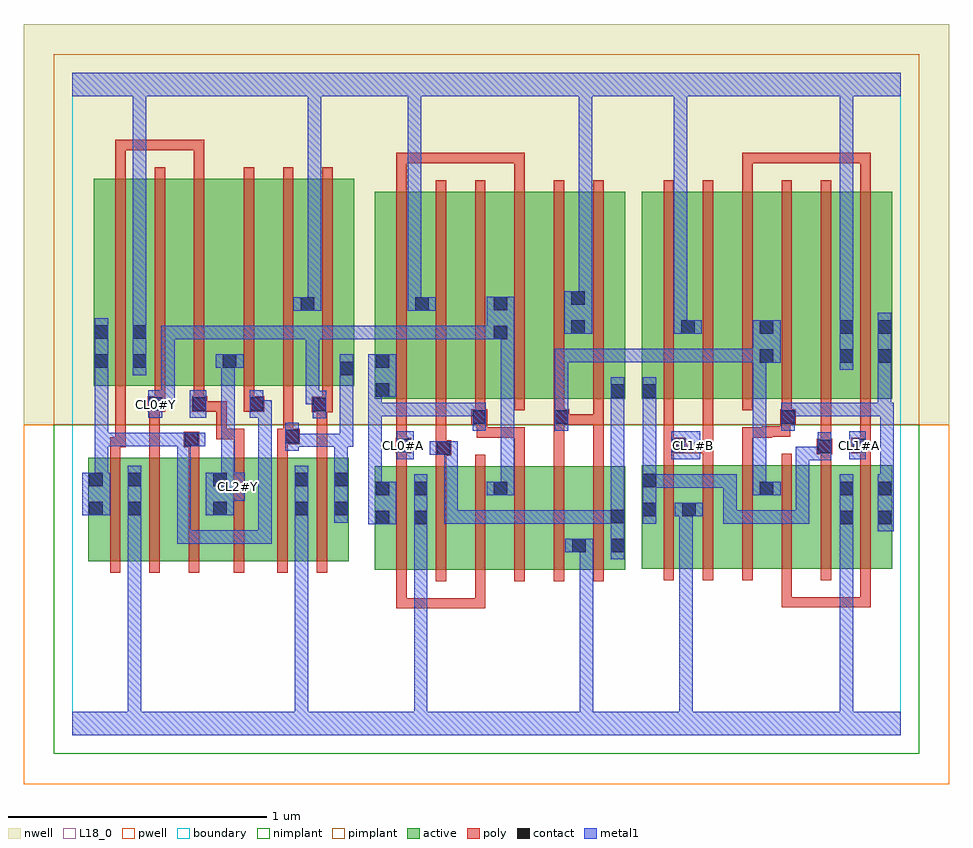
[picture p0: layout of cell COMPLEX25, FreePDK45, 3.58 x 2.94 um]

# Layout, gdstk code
import gdstk
lib = gdstk.Library(unit=1e-6, precision=1e-09)
def R(c, l, rs):  # rectangles x0, y0, x1, y1
    for r in rs: c.add(gdstk.rectangle(r[:2], r[2:], *l))
def A(c, l, x, y, w, h, nx, ny, dx, dy):  # array of equal rectangles
    R(c, l, [(x+i*dx, y+j*dy, x+i*dx+w, y+j*dy+h) for i in range(nx) for j in range(ny)])
active = (1, 0)
pwell = (2, 0)
nwell = (3, 0)
nimplant = (4, 0)
pimplant = (5, 0)
poly = (9, 0)
contact = (10, 0)
metal1 = (11, 0)
L18_0 = (18, 0)
boundary = (235, 0)

complex25 = lib.new_cell('COMPLEX25')
R(complex25, active, [(1.168,0.64,1.228,1.04), (1.168,0.64,1.376,1.04), (1.316,0.64,1.5,1.04), (1.5,0.64,1.684,1.04), (1.624,0.64,1.804,1.04), (1.804,0.64,1.988,1.04), (1.928,0.64,2.136,1.04), (1.928,0.64,1.988,0.83), (2.076,0.64,2.136,1.04), (2.2,0.644,2.412,1.044), (2.352,0.644,2.532,1.044), (2.532,0.644,2.712,1.044), (2.652,0.644,2.836,1.044), (2.836,0.644,3.02,1.044), (2.96,0.644,3.02,1.044), (2.96,0.644,3.168,1.044), (3.108,0.644,3.168,1.044), (0.062,0.672,0.27,1.072), (0.21,0.672,0.27,1.072), (0.21,0.672,0.394,1.072), (0.394,0.672,0.6,1.072), (0.54,0.672,0.6,1.072), (0.54,0.672,0.736,1.072), (0.736,0.672,0.916,1.072), (0.856,0.672,1.068,1.072), (0.062,0.756,0.122,1.072), (0.856,0.756,0.916,1.072), (1.008,0.756,1.068,1.072), (1.316,0.756,1.376,0.984), (1.624,0.756,1.684,0.984), (2.2,0.756,2.26,1.044), (2.352,0.756,2.412,0.902), (2.652,0.756,2.712,0.984), (1.168,1.3,1.228,2.044), (1.168,1.3,1.38,2.1), (1.32,1.3,1.5,2.1), (1.5,1.3,1.684,2.1), (1.624,1.3,1.684,2.044), (1.624,1.3,1.804,2.1), (1.804,1.3,1.984,2.1), (1.924,1.3,2.136,2.1), (2.076,1.3,2.136,2.044), (2.2,1.3,2.26,2.044), (2.2,1.3,2.408,2.1), (2.348,1.3,2.532,2.1), (2.532,1.3,2.712,2.1), (2.652,1.3,2.712,2.044), (2.652,1.3,2.836,2.1), (2.836,1.3,3.02,2.1), (2.96,1.3,3.02,2.044), (2.96,1.3,3.168,2.1), (3.108,1.3,3.168,2.044), (0.082,1.35,0.29,2.15), (0.082,1.35,0.142,2.044), (0.23,1.35,0.414,2.15), (0.23,1.35,0.29,2.15), (0.414,1.35,0.638,2.15), (0.578,1.35,0.758,2.15), (0.578,1.35,0.638,2.044), (0.758,1.35,0.938,2.15), (0.878,1.35,1.09,2.15), (1.03,1.35,1.09,2.044), (0.878,1.406,0.938,2.15), (2.348,1.464,2.408,2.044), (1.924,1.492,1.984,2.044), (1.32,1.58,1.38,2.044)])
R(complex25, pwell, [(-0.188,-0.188,3.388,1.2)])
R(complex25, nwell, [(-0.188,1.2,3.388,2.748)])
R(complex25, nimplant, [(-0.072,-0.072,3.272,1.2)])
R(complex25, pimplant, [(-0.072,1.2,3.272,2.632)])
A(complex25, poly, 1.252, 0.596, 0.04, 0.488, 6, 1, 0.152, 0)
A(complex25, poly, 2.284, 0.6, 0.04, 0.488, 6, 1, 0.152, 0)
A(complex25, poly, 0.146, 0.628, 0.04, 0.488, 3, 1, 0.152, 0)
A(complex25, poly, 1.252, 1.256, 0.04, 0.888, 6, 1, 0.152, 0)
A(complex25, poly, 2.284, 1.256, 0.04, 0.888, 6, 1, 0.152, 0)
A(complex25, poly, 0.166, 1.306, 0.04, 0.888, 3, 1, 0.152, 0)
A(complex25, poly, 0.662, 1.306, 0.04, 0.888, 3, 1, 0.152, 0)
R(complex25, poly, [(1.252,0.49,1.292,0.636), (1.252,0.49,1.292,0.53), (1.252,0.49,1.292,0.53), (1.252,0.49,1.292,0.53), (1.252,0.49,1.416,0.53), (1.376,0.49,1.416,0.53), (1.376,0.49,1.416,0.53), (1.376,0.49,1.416,0.53), (1.376,0.49,1.596,0.53), (1.556,0.49,1.596,0.636), (1.556,0.49,1.596,0.53), (2.74,0.494,2.78,0.64), (2.74,0.494,2.78,0.534), (2.74,0.494,2.944,0.534), (2.904,0.494,2.944,0.534), (2.904,0.494,2.944,0.534), (2.904,0.494,2.944,0.534), (2.904,0.494,3.084,0.534), (3.044,0.494,3.084,0.64), (3.044,0.494,3.084,0.534), (3.044,0.494,3.084,0.534), (3.044,0.494,3.084,0.534), (0.624,0.628,0.664,1.116), (0.792,0.628,0.832,1.116), (0.944,0.628,0.984,1.116), (1.252,1.044,1.292,1.13), (1.404,1.044,1.444,1.12), (1.708,1.044,1.748,1.19), (1.86,1.044,1.9,1.24), (2.012,1.044,2.052,1.24), (2.284,1.048,2.324,1.13), (2.436,1.048,2.476,1.13), (2.588,1.048,2.628,1.19), (2.892,1.048,2.932,1.126), (3.044,1.048,3.084,1.13), (0.146,1.076,0.186,1.152), (0.298,1.076,0.338,1.29), (0.45,1.076,0.49,1.152), (0.624,1.076,0.664,1.184), (0.792,1.076,0.832,1.164), (0.944,1.076,0.984,1.288), (1.404,1.08,1.464,1.14), (2.876,1.086,2.936,1.146), (1.25,1.09,1.31,1.15), (2.284,1.09,2.324,1.13), (2.284,1.09,2.324,1.13), (2.284,1.09,2.324,1.13), (2.284,1.09,2.324,1.13), (2.284,1.09,2.476,1.13), (2.284,1.09,2.37,1.15), (2.436,1.09,2.476,1.13), (2.436,1.09,2.476,1.13), (2.436,1.09,2.476,1.13), (2.436,1.09,2.476,1.296), (3.01,1.09,3.084,1.15), (1.404,1.1,1.444,1.14), (1.404,1.1,1.444,1.14), (1.404,1.1,1.444,1.296), (2.892,1.106,2.932,1.146), (2.892,1.106,2.932,1.146), (2.892,1.106,2.932,1.296), (1.252,1.11,1.292,1.15), (1.252,1.11,1.292,1.15), (1.252,1.11,1.292,1.296), (2.284,1.11,2.324,1.296), (3.044,1.11,3.084,1.15), (3.044,1.11,3.084,1.15), (3.044,1.11,3.084,1.296), (0.146,1.112,0.186,1.152), (0.146,1.112,0.186,1.152), (0.146,1.112,0.206,1.152), (0.166,1.112,0.206,1.346), (0.43,1.112,0.49,1.172), (0.792,1.124,0.878,1.184), (0.556,1.144,0.596,1.29), (0.556,1.144,0.596,1.184), (0.556,1.144,0.664,1.184), (0.624,1.144,0.664,1.184), (0.814,1.144,0.854,1.184), (0.814,1.144,0.854,1.184), (0.814,1.144,0.854,1.346), (1.562,1.15,1.748,1.19), (1.562,1.15,1.602,1.24), (1.708,1.15,1.748,1.19), (1.708,1.15,1.748,1.19), (1.708,1.15,1.748,1.19), (2.588,1.15,2.628,1.19), (2.588,1.15,2.704,1.19), (2.664,1.15,2.704,1.194), (2.664,1.154,2.774,1.194), (2.734,1.154,2.774,1.194), (2.734,1.154,2.774,1.24), (1.542,1.2,1.602,1.26), (1.562,1.2,1.602,1.24), (1.86,1.2,1.9,1.24), (1.86,1.2,1.9,1.24), (1.86,1.2,1.92,1.26), (1.86,1.2,2.052,1.24), (2.012,1.2,2.052,1.24), (2.012,1.2,2.052,1.24), (2.012,1.2,2.052,1.24), (2.012,1.2,2.052,1.24), (2.012,1.2,2.052,1.24), (2.012,1.2,2.052,1.296), (2.734,1.2,2.794,1.26), (1.556,1.22,1.596,1.296), (1.86,1.22,1.9,1.296), (2.74,1.22,2.78,1.296), (0.924,1.248,1.006,1.308), (0.944,1.248,0.984,1.288), (0.944,1.248,0.984,1.288), (0.292,1.25,0.358,1.31), (0.298,1.25,0.338,1.29), (0.298,1.25,0.338,1.29), (0.462,1.25,0.522,1.31), (0.482,1.25,0.596,1.29), (0.556,1.25,0.596,1.29), (0.662,1.25,0.742,1.31), (0.966,1.268,1.006,1.346), (0.318,1.27,0.358,1.346), (0.47,1.27,0.51,1.346), (0.662,1.27,0.702,1.346), (1.252,2.104,1.292,2.25), (1.708,2.104,1.748,2.25), (2.588,2.104,2.628,2.25), (3.044,2.104,3.084,2.25), (0.166,2.154,0.206,2.3), (0.47,2.154,0.51,2.3), (1.252,2.21,1.292,2.25), (1.252,2.21,1.292,2.25), (1.252,2.21,1.292,2.25), (1.252,2.21,1.416,2.25), (1.376,2.21,1.416,2.25), (1.376,2.21,1.416,2.25), (1.376,2.21,1.416,2.25), (1.376,2.21,1.642,2.25), (1.602,2.21,1.642,2.25), (1.602,2.21,1.748,2.25), (1.708,2.21,1.748,2.25), (1.708,2.21,1.748,2.25), (1.708,2.21,1.748,2.25), (2.588,2.21,2.628,2.25), (2.588,2.21,2.628,2.25), (2.588,2.21,2.628,2.25), (2.588,2.21,2.81,2.25), (2.77,2.21,2.81,2.25), (2.77,2.21,2.81,2.25), (2.77,2.21,2.81,2.25), (2.77,2.21,2.916,2.25), (2.876,2.21,2.916,2.25), (2.876,2.21,3.084,2.25), (3.044,2.21,3.084,2.25), (3.044,2.21,3.084,2.25), (3.044,2.21,3.084,2.25), (0.166,2.26,0.206,2.3), (0.166,2.26,0.206,2.3), (0.166,2.26,0.206,2.3), (0.166,2.26,0.364,2.3), (0.324,2.26,0.364,2.3), (0.324,2.26,0.364,2.3), (0.324,2.26,0.364,2.3), (0.324,2.26,0.51,2.3), (0.47,2.26,0.51,2.3)])
R(complex25, contact, [(1.932,0.708,1.984,0.76), (2.08,0.708,2.132,0.76), (1.172,0.816,1.224,0.868), (1.32,0.816,1.372,0.868), (2.964,0.816,3.016,0.868), (3.112,0.816,3.164,0.868), (2.08,0.82,2.132,0.872), (2.204,0.846,2.256,0.898), (2.356,0.846,2.408,0.898), (0.066,0.85,0.118,0.902), (0.214,0.85,0.266,0.902), (0.544,0.85,0.596,0.902), (0.86,0.85,0.912,0.902), (1.012,0.85,1.064,0.902), (1.172,0.928,1.224,0.98), (1.32,0.928,1.372,0.98), (1.628,0.928,1.68,0.98), (2.656,0.928,2.708,0.98), (2.964,0.928,3.016,0.98), (3.112,0.928,3.164,0.98), (2.204,0.958,2.256,1.01), (0.066,0.962,0.118,1.014), (0.214,0.962,0.266,1.014), (0.544,0.962,0.596,1.014), (0.86,0.962,0.912,1.014), (1.012,0.962,1.064,1.014), (1.408,1.084,1.46,1.136), (2.88,1.09,2.932,1.142), (1.254,1.094,1.306,1.146), (2.314,1.094,2.366,1.146), (3.014,1.094,3.066,1.146), (0.434,1.116,0.486,1.168), (0.822,1.128,0.874,1.18), (1.546,1.204,1.598,1.256), (1.864,1.204,1.916,1.256), (2.738,1.204,2.79,1.256), (0.928,1.252,0.98,1.304), (0.296,1.254,0.348,1.306), (0.466,1.254,0.518,1.306), (0.686,1.254,0.738,1.306), (2.08,1.304,2.132,1.356), (2.204,1.304,2.256,1.356), (1.172,1.308,1.224,1.36), (1.034,1.392,1.086,1.444), (0.086,1.42,0.138,1.472), (0.234,1.42,0.286,1.472), (0.582,1.42,0.634,1.472), (1.172,1.42,1.224,1.472), (2.656,1.44,2.708,1.492), (2.964,1.44,3.016,1.492), (3.112,1.44,3.164,1.492), (1.628,1.53,1.68,1.582), (0.086,1.532,0.138,1.584), (0.234,1.532,0.286,1.584), (1.928,1.552,1.98,1.604), (2.352,1.552,2.404,1.604), (2.656,1.552,2.708,1.604), (2.964,1.552,3.016,1.604), (3.112,1.552,3.164,1.604), (0.882,1.64,0.934,1.692), (1.324,1.64,1.376,1.692), (1.628,1.642,1.68,1.694), (1.928,1.664,1.98,1.716)])
R(complex25, metal1, [(0,0,3.2,0.092), (0.214,0.04,0.266,0.092), (0.214,0.04,0.266,0.092), (0.214,0.04,0.266,0.092), (0.214,0.04,0.266,0.092), (0.214,0.04,0.266,0.092), (0.214,0.04,0.266,0.092), (0.214,0.04,0.266,0.092), (0.214,0.04,0.266,0.092), (0.214,0.04,0.266,0.092), (0.214,0.04,0.266,0.092), (0.214,0.04,0.266,0.092), (0.214,0.04,0.266,0.092), (0.214,0.04,0.266,0.874), (0.86,0.04,0.912,0.092), (0.86,0.04,0.912,0.092), (0.86,0.04,0.912,0.092), (0.86,0.04,0.912,0.092), (0.86,0.04,0.912,0.092), (0.86,0.04,0.912,0.092), (0.86,0.04,0.912,0.092), (0.86,0.04,0.912,0.092), (0.86,0.04,0.912,0.874), (1.32,0.04,1.372,0.092), (1.32,0.04,1.372,0.092), (1.32,0.04,1.372,0.092), (1.32,0.04,1.372,0.092), (1.32,0.04,1.372,0.092), (1.32,0.04,1.372,0.092), (1.32,0.04,1.372,0.092), (1.32,0.04,1.372,0.092), (1.32,0.04,1.372,0.092), (1.32,0.04,1.372,0.092), (1.32,0.04,1.372,0.092), (1.32,0.04,1.372,0.092), (1.32,0.04,1.372,0.84), (1.96,0.04,2.012,0.092), (1.96,0.04,2.012,0.092), (1.96,0.04,2.012,0.092), (1.96,0.04,2.012,0.092), (1.96,0.04,2.012,0.092), (1.96,0.04,2.012,0.092), (1.96,0.04,2.012,0.092), (1.96,0.04,2.012,0.092), (1.96,0.04,2.012,0.092), (1.96,0.04,2.012,0.092), (1.96,0.04,2.012,0.092), (1.96,0.04,2.012,0.092), (1.96,0.04,2.012,0.76), (2.344,0.04,2.396,0.092), (2.344,0.04,2.396,0.092), (2.344,0.04,2.396,0.092), (2.344,0.04,2.396,0.092), (2.344,0.04,2.396,0.092), (2.344,0.04,2.396,0.092), (2.344,0.04,2.396,0.092), (2.344,0.04,2.396,0.092), (2.344,0.04,2.396,0.092), (2.344,0.04,2.396,0.092), (2.344,0.04,2.396,0.898), (2.964,0.04,3.016,0.092), (2.964,0.04,3.016,0.092), (2.964,0.04,3.016,0.092), (2.964,0.04,3.016,0.092), (2.964,0.04,3.016,0.092), (2.964,0.04,3.016,0.092), (2.964,0.04,3.016,0.092), (2.964,0.04,3.016,0.092), (2.964,0.04,3.016,0.84), (2.08,0.68,2.132,0.9), (1.904,0.708,2.012,0.76), (0.406,0.74,0.458,0.792), (0.406,0.74,0.458,0.792), (0.406,0.74,0.458,0.792), (0.406,0.74,0.65,0.792), (0.406,0.74,0.458,1.168), (0.598,0.74,0.65,0.792), (0.598,0.74,0.678,0.792), (0.626,0.74,0.678,0.792), (0.626,0.74,0.77,0.792), (0.718,0.74,0.77,0.792), (0.718,0.74,0.77,0.792), (0.718,0.74,0.77,0.792), (0.718,0.74,0.77,0.792), (0.718,0.74,0.77,0.792), (0.718,0.74,0.77,1.294), (1.32,0.788,1.372,1.008), (2.964,0.788,3.016,1.008), (2.964,0.788,3.016,0.84), (2.964,0.788,3.016,0.84), (2.964,0.788,3.016,0.84), (2.964,0.788,3.016,0.84), (3.112,0.788,3.174,1.008), (1.144,0.816,1.252,0.98), (1.436,0.818,1.488,0.87), (1.436,0.818,1.652,0.87), (1.436,0.818,1.488,1.136), (1.6,0.818,1.652,0.87), (1.6,0.818,1.652,0.87), (1.6,0.818,1.652,0.87), (1.6,0.818,1.806,0.87), (1.754,0.818,1.806,0.87), (1.754,0.818,1.806,0.87), (1.754,0.818,1.806,0.87), (1.754,0.818,1.916,0.87), (1.864,0.818,1.916,0.87), (1.864,0.818,1.916,0.87), (1.864,0.818,1.916,0.87), (1.864,0.818,2.132,0.87), (2.08,0.818,2.132,0.87), (2.08,0.818,2.132,0.87), (2.204,0.818,2.256,1.038), (2.514,0.818,2.566,0.87), (2.514,0.818,2.566,0.87), (2.514,0.818,2.566,0.87), (2.514,0.818,2.68,0.87), (2.514,0.818,2.566,1.008), (2.628,0.818,2.68,0.87), (2.628,0.818,2.68,0.87), (2.628,0.818,2.68,0.87), (2.628,0.818,2.846,0.87), (2.794,0.818,2.846,0.87), (2.794,0.818,2.846,1.114), (0.214,0.822,0.266,1.042), (0.86,0.822,0.912,1.042), (0.86,0.822,0.912,0.874), (0.86,0.822,0.912,0.874), (0.86,0.822,0.912,0.874), (0.86,0.822,0.912,0.874), (1.012,0.822,1.064,1.042), (2.328,0.846,2.436,0.898), (2.344,0.846,2.396,0.898), (2.344,0.846,2.396,0.898), (2.08,0.848,2.132,0.9), (2.08,0.848,2.132,0.9), (2.08,0.848,2.132,0.9), (2.08,0.848,2.132,0.9), (2.08,0.848,2.132,0.9), (2.08,0.848,2.132,0.9), (2.08,0.848,2.132,1.328), (0.038,0.85,0.146,1.014), (0.516,0.85,0.624,1.014), (0.572,0.906,0.624,0.958), (0.572,0.906,0.666,1.014), (1.144,0.928,1.196,1.284), (1.6,0.928,1.708,0.98), (1.656,0.928,1.708,1.582), (2.628,0.928,2.68,1.492), (2.628,0.928,2.736,0.98), (2.204,0.956,2.256,1.008), (2.204,0.956,2.256,1.008), (2.204,0.956,2.456,1.008), (2.404,0.956,2.456,1.008), (2.404,0.956,2.456,1.008), (2.404,0.956,2.456,1.008), (2.404,0.956,2.566,1.008), (2.514,0.956,2.566,1.008), (3.122,0.956,3.174,1.284), (3.122,0.956,3.174,1.008), (3.122,0.956,3.174,1.008), (0.086,0.962,0.138,1.014), (0.086,0.962,0.138,1.014), (0.086,0.962,0.138,1.168), (0.576,0.962,0.628,1.014), (0.576,0.962,0.628,1.014), (0.576,0.962,0.628,1.472), (2.204,0.986,2.256,1.038), (2.204,0.986,2.256,1.038), (2.204,0.986,2.256,1.038), (2.204,0.986,2.256,1.038), (2.204,0.986,2.256,1.328), (1.012,0.99,1.064,1.166), (2.794,1.062,2.846,1.114), (2.794,1.062,2.846,1.114), (2.794,1.062,2.846,1.114), (2.794,1.062,2.932,1.114), (2.88,1.062,2.932,1.17), (1.254,1.066,1.318,1.174), (2.314,1.066,2.426,1.174), (3.002,1.066,3.066,1.174), (1.38,1.084,1.488,1.136), (1.436,1.084,1.488,1.136), (1.436,1.084,1.488,1.136), (1.436,1.084,1.488,1.136), (1.436,1.084,1.488,1.136), (0.822,1.1,0.874,1.208), (0.822,1.114,0.954,1.166), (0.902,1.114,0.954,1.166), (0.902,1.114,1.064,1.166), (1.012,1.114,1.064,1.166), (1.012,1.114,1.064,1.166), (1.012,1.114,1.086,1.166), (1.034,1.114,1.086,1.166), (1.034,1.114,1.086,1.166), (1.034,1.114,1.086,1.416), (0.086,1.116,0.138,1.444), (0.086,1.116,0.138,1.168), (0.086,1.116,0.138,1.168), (0.086,1.116,0.138,1.168), (0.086,1.116,0.248,1.168), (0.196,1.116,0.248,1.168), (0.196,1.116,0.248,1.168), (0.196,1.116,0.248,1.168), (0.196,1.116,0.458,1.168), (0.406,1.116,0.458,1.168), (0.406,1.116,0.458,1.168), (0.406,1.116,0.458,1.168), (0.406,1.116,0.458,1.168), (0.406,1.116,0.514,1.168), (1.546,1.176,1.598,1.284), (1.864,1.176,1.916,1.284), (2.738,1.176,2.79,1.284), (0.928,1.224,0.98,1.332), (0.294,1.226,0.348,1.334), (0.454,1.226,0.518,1.334), (0.686,1.226,0.738,1.334), (1.144,1.232,1.196,1.284), (1.144,1.232,1.196,1.284), (1.144,1.232,1.196,1.284), (1.144,1.232,1.196,1.284), (1.144,1.232,1.196,1.284), (1.144,1.232,1.362,1.284), (1.144,1.232,1.196,1.36), (1.31,1.232,1.362,1.284), (1.31,1.232,1.362,1.284), (1.31,1.232,1.362,1.284), (1.31,1.232,1.542,1.284), (1.49,1.232,1.542,1.284), (1.49,1.232,1.598,1.284), (1.864,1.232,1.916,1.284), (1.864,1.232,1.916,1.284), (1.864,1.232,1.916,1.494), (2.738,1.232,2.79,1.284), (2.738,1.232,2.79,1.284), (2.738,1.232,2.944,1.284), (2.892,1.232,2.944,1.284), (2.892,1.232,2.956,1.284), (2.904,1.232,2.956,1.284), (2.904,1.232,3.164,1.284), (3.112,1.232,3.164,1.464), (3.112,1.232,3.164,1.284), (3.112,1.232,3.164,1.284), (3.112,1.232,3.174,1.284), (0.686,1.242,0.77,1.294), (0.718,1.242,0.77,1.294), (2.08,1.276,2.132,1.384), (2.204,1.276,2.256,1.384), (0.902,1.28,0.954,1.332), (0.902,1.28,0.954,1.332), (0.902,1.28,0.954,1.332), (0.902,1.28,0.954,1.582), (0.902,1.28,0.98,1.332), (0.296,1.282,0.396,1.334), (0.344,1.282,0.396,1.334), (0.344,1.282,0.396,1.334), (0.344,1.282,0.396,1.334), (0.344,1.282,0.396,1.582), (1.144,1.308,1.252,1.472), (1.034,1.364,1.086,1.472), (0.086,1.392,0.138,1.612), (0.086,1.392,0.138,1.444), (0.086,1.392,0.138,1.444), (0.234,1.392,0.286,1.612), (2.964,1.412,3.016,1.632), (3.112,1.412,3.164,1.632), (0.554,1.42,0.662,1.472), (2.628,1.44,2.68,1.492), (2.628,1.44,2.68,1.492), (2.628,1.44,2.68,1.492), (2.628,1.44,2.68,1.492), (2.628,1.44,2.68,1.492), (2.628,1.44,2.68,1.492), (2.628,1.44,2.736,1.604), (1.864,1.442,1.916,1.494), (1.864,1.442,1.916,1.494), (1.864,1.442,1.916,1.494), (1.864,1.442,2.146,1.494), (2.094,1.442,2.146,1.494), (2.094,1.442,2.146,1.494), (2.094,1.442,2.146,1.494), (2.094,1.442,2.266,1.494), (2.214,1.442,2.266,1.494), (2.214,1.442,2.266,1.494), (2.214,1.442,2.266,1.494), (2.214,1.442,2.456,1.494), (2.404,1.442,2.456,1.494), (2.404,1.442,2.456,1.494), (2.404,1.442,2.456,1.494), (2.404,1.442,2.57,1.494), (2.518,1.442,2.57,1.494), (2.518,1.442,2.57,1.494), (2.518,1.442,2.57,1.494), (2.518,1.442,2.68,1.494), (0.344,1.53,0.396,1.582), (0.344,1.53,0.568,1.582), (0.516,1.53,0.568,1.582), (0.516,1.53,0.568,1.582), (0.516,1.53,0.568,1.582), (0.516,1.53,0.76,1.582), (0.708,1.53,0.76,1.582), (0.708,1.53,0.76,1.582), (0.708,1.53,0.76,1.582), (0.708,1.53,0.87,1.582), (0.818,1.53,0.87,1.582), (0.818,1.53,0.954,1.582), (0.902,1.53,0.954,1.582), (0.902,1.53,1.086,1.582), (1.034,1.53,1.086,1.582), (1.034,1.53,1.086,1.582), (1.034,1.53,1.086,1.582), (1.034,1.53,1.238,1.582), (1.186,1.53,1.238,1.582), (1.186,1.53,1.238,1.582), (1.186,1.53,1.238,1.582), (1.186,1.53,1.378,1.582), (1.326,1.53,1.378,1.582), (1.326,1.53,1.488,1.582), (1.436,1.53,1.488,1.582), (1.436,1.53,1.488,1.582), (1.436,1.53,1.488,1.582), (1.436,1.53,1.652,1.582), (1.6,1.53,1.652,1.582), (1.6,1.53,1.652,1.582), (1.6,1.53,1.708,1.694), (1.656,1.53,1.708,1.582), (1.656,1.53,1.708,1.582), (1.656,1.53,1.708,1.582), (1.656,1.53,1.708,1.582), (1.656,1.53,1.708,1.582), (1.656,1.53,1.708,1.582), (1.9,1.552,2.008,1.716), (2.324,1.552,2.376,1.604), (2.324,1.552,2.376,1.604), (2.324,1.552,2.376,1.604), (2.324,1.552,2.376,1.604), (2.324,1.552,2.432,1.604), (2.324,1.552,2.376,2.52), (0.234,1.56,0.286,2.52), (2.964,1.58,3.016,1.632), (2.964,1.58,3.016,1.632), (2.964,1.58,3.016,1.632), (2.964,1.58,3.016,1.632), (2.964,1.58,3.016,1.632), (2.964,1.58,3.016,1.632), (2.964,1.58,3.016,2.52), (0.854,1.64,0.962,1.692), (0.91,1.64,0.962,1.692), (0.91,1.64,0.962,1.692), (0.91,1.64,0.962,1.692), (0.91,1.64,0.962,1.692), (0.91,1.64,0.962,2.52), (1.296,1.64,1.348,1.692), (1.296,1.64,1.348,1.692), (1.296,1.64,1.348,1.692), (1.296,1.64,1.348,1.692), (1.296,1.64,1.348,1.692), (1.296,1.64,1.348,1.692), (1.296,1.64,1.404,1.692), (1.296,1.64,1.348,2.52), (1.956,1.664,2.008,1.716), (1.956,1.664,2.008,1.716), (1.956,1.664,2.008,1.716), (1.956,1.664,2.008,1.716), (1.956,1.664,2.008,1.716), (1.956,1.664,2.008,1.716), (1.956,1.664,2.008,2.52), (0,2.468,3.2,2.56), (0.234,2.468,0.286,2.52), (0.234,2.468,0.286,2.52), (0.234,2.468,0.286,2.52), (0.234,2.468,0.286,2.52), (0.234,2.468,0.286,2.52), (0.234,2.468,0.286,2.52), (0.234,2.468,0.286,2.52), (0.234,2.468,0.286,2.52), (0.91,2.468,0.962,2.52), (0.91,2.468,0.962,2.52), (0.91,2.468,0.962,2.52), (0.91,2.468,0.962,2.52), (1.296,2.468,1.348,2.52), (1.296,2.468,1.348,2.52), (1.956,2.468,2.008,2.52), (1.956,2.468,2.008,2.52), (2.324,2.468,2.376,2.52), (2.324,2.468,2.376,2.52), (2.324,2.468,2.376,2.52), (2.324,2.468,2.376,2.52), (2.964,2.468,3.016,2.52), (2.964,2.468,3.016,2.52)])
R(complex25, L18_0, [(0,0,3.2,0.092), (0.214,0.04,0.266,0.092), (0.214,0.04,0.266,0.092), (0.214,0.04,0.266,0.092), (0.214,0.04,0.266,0.092), (0.214,0.04,0.266,0.092), (0.214,0.04,0.266,0.092), (0.214,0.04,0.266,0.092), (0.214,0.04,0.266,0.092), (0.214,0.04,0.266,0.092), (0.214,0.04,0.266,0.092), (0.214,0.04,0.266,0.092), (0.214,0.04,0.266,0.092), (0.214,0.04,0.266,0.874), (0.86,0.04,0.912,0.092), (0.86,0.04,0.912,0.092), (0.86,0.04,0.912,0.092), (0.86,0.04,0.912,0.092), (0.86,0.04,0.912,0.092), (0.86,0.04,0.912,0.092), (0.86,0.04,0.912,0.092), (0.86,0.04,0.912,0.092), (0.86,0.04,0.912,0.874), (1.32,0.04,1.372,0.092), (1.32,0.04,1.372,0.092), (1.32,0.04,1.372,0.092), (1.32,0.04,1.372,0.092), (1.32,0.04,1.372,0.092), (1.32,0.04,1.372,0.092), (1.32,0.04,1.372,0.092), (1.32,0.04,1.372,0.092), (1.32,0.04,1.372,0.092), (1.32,0.04,1.372,0.092), (1.32,0.04,1.372,0.092), (1.32,0.04,1.372,0.092), (1.32,0.04,1.372,0.84), (1.96,0.04,2.012,0.092), (1.96,0.04,2.012,0.092), (1.96,0.04,2.012,0.092), (1.96,0.04,2.012,0.092), (1.96,0.04,2.012,0.092), (1.96,0.04,2.012,0.092), (1.96,0.04,2.012,0.092), (1.96,0.04,2.012,0.092), (1.96,0.04,2.012,0.092), (1.96,0.04,2.012,0.092), (1.96,0.04,2.012,0.092), (1.96,0.04,2.012,0.092), (1.96,0.04,2.012,0.76), (2.344,0.04,2.396,0.092), (2.344,0.04,2.396,0.092), (2.344,0.04,2.396,0.092), (2.344,0.04,2.396,0.092), (2.344,0.04,2.396,0.092), (2.344,0.04,2.396,0.092), (2.344,0.04,2.396,0.092), (2.344,0.04,2.396,0.092), (2.344,0.04,2.396,0.092), (2.344,0.04,2.396,0.092), (2.344,0.04,2.396,0.898), (2.964,0.04,3.016,0.092), (2.964,0.04,3.016,0.092), (2.964,0.04,3.016,0.092), (2.964,0.04,3.016,0.092), (2.964,0.04,3.016,0.092), (2.964,0.04,3.016,0.092), (2.964,0.04,3.016,0.092), (2.964,0.04,3.016,0.092), (2.964,0.04,3.016,0.84), (1.904,0.708,2.012,0.76), (1.32,0.788,1.372,1.008), (2.964,0.788,3.016,0.84), (2.964,0.788,3.016,0.84), (2.964,0.788,3.016,0.84), (2.964,0.788,3.016,0.84), (2.964,0.788,3.016,1.008), (0.214,0.822,0.266,1.042), (0.86,0.822,0.912,0.874), (0.86,0.822,0.912,0.874), (0.86,0.822,0.912,0.874), (0.86,0.822,0.912,0.874), (0.86,0.822,0.912,1.042), (2.328,0.846,2.436,0.898), (2.344,0.846,2.396,0.898), (2.344,0.846,2.396,0.898), (0.516,0.85,0.624,1.014), (0.572,0.906,0.624,0.958), (0.572,0.906,0.666,1.014), (1.6,0.928,1.708,0.98), (1.656,0.928,1.708,1.582), (0.614,0.934,0.666,0.986), (0.576,0.962,0.628,1.014), (0.576,0.962,0.628,1.014), (0.576,0.962,0.628,1.472), (1.254,1.066,1.318,1.174), (2.314,1.066,2.426,1.174), (3.002,1.066,3.066,1.174), (1.254,1.094,1.306,1.146), (2.374,1.094,2.426,1.146), (3.014,1.094,3.066,1.146), (0.928,1.224,0.98,1.332), (0.294,1.226,0.348,1.334), (0.454,1.226,0.518,1.334), (0.294,1.254,0.346,1.306), (0.454,1.254,0.506,1.306), (0.902,1.28,0.954,1.332), (0.902,1.28,0.954,1.332), (0.902,1.28,0.954,1.332), (0.902,1.28,0.954,1.582), (0.902,1.28,0.98,1.332), (0.296,1.282,0.396,1.334), (0.344,1.282,0.396,1.334), (0.344,1.282,0.396,1.334), (0.344,1.282,0.396,1.334), (0.344,1.282,0.396,1.582), (0.234,1.392,0.286,1.612), (2.964,1.412,3.016,1.632), (0.554,1.42,0.662,1.472), (0.344,1.53,0.396,1.582), (0.344,1.53,0.568,1.582), (0.516,1.53,0.568,1.582), (0.516,1.53,0.568,1.582), (0.516,1.53,0.568,1.582), (0.516,1.53,0.76,1.582), (0.708,1.53,0.76,1.582), (0.708,1.53,0.76,1.582), (0.708,1.53,0.76,1.582), (0.708,1.53,0.87,1.582), (0.818,1.53,0.87,1.582), (0.818,1.53,0.954,1.582), (0.902,1.53,0.954,1.582), (0.902,1.53,1.086,1.582), (1.034,1.53,1.086,1.582), (1.034,1.53,1.086,1.582), (1.034,1.53,1.086,1.582), (1.034,1.53,1.238,1.582), (1.186,1.53,1.238,1.582), (1.186,1.53,1.238,1.582), (1.186,1.53,1.238,1.582), (1.186,1.53,1.378,1.582), (1.326,1.53,1.378,1.582), (1.326,1.53,1.488,1.582), (1.436,1.53,1.488,1.582), (1.436,1.53,1.488,1.582), (1.436,1.53,1.488,1.582), (1.436,1.53,1.652,1.582), (1.6,1.53,1.652,1.582), (1.6,1.53,1.652,1.582), (1.6,1.53,1.708,1.694), (1.656,1.53,1.708,1.582), (1.656,1.53,1.708,1.582), (1.656,1.53,1.708,1.582), (1.656,1.53,1.708,1.582), (1.656,1.53,1.708,1.582), (1.656,1.53,1.708,1.582), (1.9,1.552,2.008,1.716), (2.324,1.552,2.376,1.604), (2.324,1.552,2.376,1.604), (2.324,1.552,2.376,1.604), (2.324,1.552,2.376,1.604), (2.324,1.552,2.432,1.604), (2.324,1.552,2.376,2.52), (0.234,1.56,0.286,2.52), (2.964,1.58,3.016,1.632), (2.964,1.58,3.016,1.632), (2.964,1.58,3.016,1.632), (2.964,1.58,3.016,1.632), (2.964,1.58,3.016,1.632), (2.964,1.58,3.016,1.632), (2.964,1.58,3.016,2.52), (0.854,1.64,0.962,1.692), (0.91,1.64,0.962,1.692), (0.91,1.64,0.962,1.692), (0.91,1.64,0.962,1.692), (0.91,1.64,0.962,1.692), (0.91,1.64,0.962,2.52), (1.296,1.64,1.348,1.692), (1.296,1.64,1.348,1.692), (1.296,1.64,1.348,1.692), (1.296,1.64,1.348,1.692), (1.296,1.64,1.348,1.692), (1.296,1.64,1.348,1.692), (1.296,1.64,1.404,1.692), (1.296,1.64,1.348,2.52), (1.956,1.664,2.008,1.716), (1.956,1.664,2.008,1.716), (1.956,1.664,2.008,1.716), (1.956,1.664,2.008,1.716), (1.956,1.664,2.008,1.716), (1.956,1.664,2.008,1.716), (1.956,1.664,2.008,2.52), (0,2.468,3.2,2.56), (0.234,2.468,0.286,2.52), (0.234,2.468,0.286,2.52), (0.234,2.468,0.286,2.52), (0.234,2.468,0.286,2.52), (0.234,2.468,0.286,2.52), (0.234,2.468,0.286,2.52), (0.234,2.468,0.286,2.52), (0.234,2.468,0.286,2.52), (0.91,2.468,0.962,2.52), (0.91,2.468,0.962,2.52), (0.91,2.468,0.962,2.52), (0.91,2.468,0.962,2.52), (1.296,2.468,1.348,2.52), (1.296,2.468,1.348,2.52), (1.956,2.468,2.008,2.52), (1.956,2.468,2.008,2.52), (2.324,2.468,2.376,2.52), (2.324,2.468,2.376,2.52), (2.324,2.468,2.376,2.52), (2.324,2.468,2.376,2.52), (2.964,2.468,3.016,2.52), (2.964,2.468,3.016,2.52)])
R(complex25, boundary, [(0,0,3.2,2.56)])
complex25.add(gdstk.Label('CL0#A', (1.28,1.12), layer=11, texttype=0))
complex25.add(gdstk.Label('CL0#Y', (0.32,1.28), layer=11, texttype=0))
complex25.add(gdstk.Label('CL1#A', (3.04,1.12), layer=11, texttype=0))
complex25.add(gdstk.Label('CL1#B', (2.4,1.12), layer=11, texttype=0))
complex25.add(gdstk.Label('CL2#A', (0.48,1.28), layer=11, texttype=0))
complex25.add(gdstk.Label('CL2#Y', (0.64,0.96), layer=11, texttype=0))

lib.write_gds('COMPLEX25.gds')
